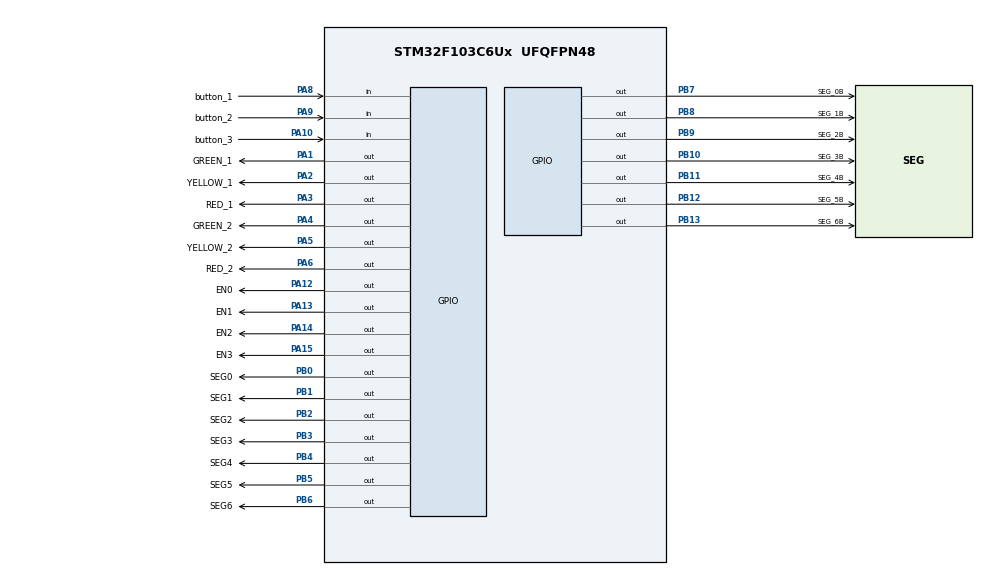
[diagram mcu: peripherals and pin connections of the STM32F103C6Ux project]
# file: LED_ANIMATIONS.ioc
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Mcu.Family=STM32F1
Mcu.Name=STM32F103C6Ux
Mcu.Package=UFQFPN48
NVIC.PriorityGroup=NVIC_PRIORITYGROUP_4
NVIC.TIM2_IRQn=true\:0\:0\:false\:false\:true\:true\:true
NVIC.TIM3_IRQn=true\:0\:0\:false\:false\:true\:true\:true
PA1.GPIO_Label=GREEN_1
PA1.Signal=GPIO_Output
PA10.GPIO_Label=button_3
PA10.GPIO_PuPd=GPIO_PULLUP
PA10.Signal=GPIO_Input
PA12.GPIO_Label=EN0
PA12.GPIO_PuPd=GPIO_PULLUP
PA12.Signal=GPIO_Output
PA13.GPIO_Label=EN1
PA13.GPIO_PuPd=GPIO_PULLUP
PA13.Signal=GPIO_Output
PA14.GPIO_Label=EN2
PA14.GPIO_PuPd=GPIO_PULLUP
PA14.Signal=GPIO_Output
PA15.GPIO_Label=EN3
PA15.GPIO_PuPd=GPIO_PULLUP
PA15.Signal=GPIO_Output
PA2.GPIO_Label=YELLOW_1
PA2.Signal=GPIO_Output
PA3.GPIO_Label=RED_1
PA3.Signal=GPIO_Output
PA4.GPIO_Label=GREEN_2
PA4.Signal=GPIO_Output
PA5.GPIO_Label=YELLOW_2
PA5.Signal=GPIO_Output
PA6.GPIO_Label=RED_2
PA6.Signal=GPIO_Output
PA8.GPIO_Label=button_1
PA8.GPIO_PuPd=GPIO_PULLUP
PA8.Signal=GPIO_Input
PA9.GPIO_Label=button_2
PA9.GPIO_PuPd=GPIO_PULLUP
PA9.Signal=GPIO_Input
PB0.GPIO_Label=SEG0
PB0.Signal=GPIO_Output
PB1.GPIO_Label=SEG1
PB1.Signal=GPIO_Output
PB10.GPIO_Label=SEG_3B
PB10.Signal=GPIO_Output
PB11.GPIO_Label=SEG_4B
PB11.Signal=GPIO_Output
PB12.GPIO_Label=SEG_5B
PB12.Signal=GPIO_Output
PB13.GPIO_Label=SEG_6B
PB13.Signal=GPIO_Output
PB2.GPIO_Label=SEG2
PB2.Signal=GPIO_Output
PB3.GPIO_Label=SEG3
PB3.Signal=GPIO_Output
PB4.GPIO_Label=SEG4
PB4.Signal=GPIO_Output
PB5.GPIO_Label=SEG5
PB5.Signal=GPIO_Output
PB6.GPIO_Label=SEG6
PB6.Signal=GPIO_Output
PB7.GPIO_Label=SEG_0B
PB7.Signal=GPIO_Output
PB8.GPIO_Label=SEG_1B
PB8.Signal=GPIO_Output
PB9.GPIO_Label=SEG_2B
PB9.Signal=GPIO_Output
ProjectManager.HeapSize=0x200
ProjectManager.StackSize=0x400
ProjectManager.TargetToolchain=STM32CubeIDE
RCC.APB1Freq_Value=8000000
RCC.APB2Freq_Value=8000000
TIM2.Period=99
TIM2.Prescaler=7999
TIM3.Period=99
TIM3.Prescaler=7999
VP_SYS_VS_ND.Mode=No_Debug
VP_TIM2_VS_ClockSourceINT.Mode=Internal
VP_TIM3_VS_ClockSourceINT.Mode=Internal
board=custom

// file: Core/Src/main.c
/* USER CODE BEGIN Header */
/**
  ******************************************************************************
  * @file           : main.c
  * @brief          : Main program body
  ******************************************************************************
  * @attention
  *
  * <h2><center>&copy; Copyright (c) 2024 STMicroelectronics.
  * All rights reserved.</center></h2>
  *
  * This software component is licensed by ST under BSD 3-Clause license,
  * the "License"; You may not use this file except in compliance with the
  * License. You may obtain a copy of the License at:
  *                        opensource.org/licenses/BSD-3-Clause
  *
  ******************************************************************************
  */
/* USER CODE END Header */
#include "main.h"

/* USER CODE BEGIN Includes */
#include "timer.h"
#include "led_display.h"
#include "fsm_automatic.h"
#include "input_processing.h"
#include "input_reading.h"
/* USER CODE END Includes */

TIM_HandleTypeDef htim2;
TIM_HandleTypeDef htim3;

void SystemClock_Config(void);
static void MX_GPIO_Init(void);
static void MX_TIM2_Init(void);
static void MX_TIM3_Init(void);

/* USER CODE BEGIN 0 */
int counter = 0;
int temp1,temp2;
int active_led = 0;
/* USER CODE END 0 */

int main(void)
{

  /* MCU Configuration--------------------------------------------------------*/

  /* Reset of all peripherals, Initializes the Flash interface and the Systick. */
  HAL_Init();

  /* Configure the system clock */
  SystemClock_Config();

  /* Initialize all configured peripherals */
  MX_GPIO_Init();
  MX_TIM2_Init();
  MX_TIM3_Init();
  /* USER CODE BEGIN 2 */
  HAL_TIM_Base_Start_IT(&htim2);
  HAL_TIM_Base_Start_IT(&htim3);
  /* USER CODE END 2 */

  /* Infinite loop */
  /* USER CODE BEGIN WHILE */
  status_1 = INIT;
  status_2 = INIT;
  setTimer1(100);
  while (1)
  {
    /* USER CODE END WHILE */

  }
}

void SystemClock_Config(void)
{
  RCC_OscInitTypeDef RCC_OscInitStruct = {0};
  RCC_ClkInitTypeDef RCC_ClkInitStruct = {0};

  /** Initializes the RCC Oscillators according to the specified parameters
  * in the RCC_OscInitTypeDef structure.
  */
  RCC_OscInitStruct.OscillatorType = RCC_OSCILLATORTYPE_HSI;
  RCC_OscInitStruct.HSIState = RCC_HSI_ON;
  RCC_OscInitStruct.HSICalibrationValue = RCC_HSICALIBRATION_DEFAULT;
  RCC_OscInitStruct.PLL.PLLState = RCC_PLL_NONE;
  if (HAL_RCC_OscConfig(&RCC_OscInitStruct) != HAL_OK)
  {
    Error_Handler();
  }
  /** Initializes the CPU, AHB and APB buses clocks
  */
  RCC_ClkInitStruct.ClockType = RCC_CLOCKTYPE_HCLK|RCC_CLOCKTYPE_SYSCLK
                              |RCC_CLOCKTYPE_PCLK1|RCC_CLOCKTYPE_PCLK2;
  RCC_ClkInitStruct.SYSCLKSource = RCC_SYSCLKSOURCE_HSI;
  RCC_ClkInitStruct.AHBCLKDivider = RCC_SYSCLK_DIV1;
  RCC_ClkInitStruct.APB1CLKDivider = RCC_HCLK_DIV1;
  RCC_ClkInitStruct.APB2CLKDivider = RCC_HCLK_DIV1;

  if (HAL_RCC_ClockConfig(&RCC_ClkInitStruct, FLASH_LATENCY_0) != HAL_OK)
  {
    Error_Handler();
  }
}

static void MX_TIM2_Init(void)
{

  TIM_ClockConfigTypeDef sClockSourceConfig = {0};
  TIM_MasterConfigTypeDef sMasterConfig = {0};

  htim2.Instance = TIM2;
  htim2.Init.Prescaler = 7999;
  htim2.Init.CounterMode = TIM_COUNTERMODE_UP;
  htim2.Init.Period = 99;
  htim2.Init.ClockDivision = TIM_CLOCKDIVISION_DIV1;
  htim2.Init.AutoReloadPreload = TIM_AUTORELOAD_PRELOAD_DISABLE;
  if (HAL_TIM_Base_Init(&htim2) != HAL_OK)
  {
    Error_Handler();
  }
  sClockSourceConfig.ClockSource = TIM_CLOCKSOURCE_INTERNAL;
  if (HAL_TIM_ConfigClockSource(&htim2, &sClockSourceConfig) != HAL_OK)
  {
    Error_Handler();
  }
  sMasterConfig.MasterOutputTrigger = TIM_TRGO_RESET;
  sMasterConfig.MasterSlaveMode = TIM_MASTERSLAVEMODE_DISABLE;
  if (HAL_TIMEx_MasterConfigSynchronization(&htim2, &sMasterConfig) != HAL_OK)
  {
    Error_Handler();
  }

}

static void MX_TIM3_Init(void)
{

  TIM_ClockConfigTypeDef sClockSourceConfig = {0};
  TIM_MasterConfigTypeDef sMasterConfig = {0};

  htim3.Instance = TIM3;
  htim3.Init.Prescaler = 7999;
  htim3.Init.CounterMode = TIM_COUNTERMODE_UP;
  htim3.Init.Period = 99;
  htim3.Init.ClockDivision = TIM_CLOCKDIVISION_DIV1;
  htim3.Init.AutoReloadPreload = TIM_AUTORELOAD_PRELOAD_DISABLE;
  if (HAL_TIM_Base_Init(&htim3) != HAL_OK)
  {
    Error_Handler();
  }
  sClockSourceConfig.ClockSource = TIM_CLOCKSOURCE_INTERNAL;
  if (HAL_TIM_ConfigClockSource(&htim3, &sClockSourceConfig) != HAL_OK)
  {
    Error_Handler();
  }
  sMasterConfig.MasterOutputTrigger = TIM_TRGO_RESET;
  sMasterConfig.MasterSlaveMode = TIM_MASTERSLAVEMODE_DISABLE;
  if (HAL_TIMEx_MasterConfigSynchronization(&htim3, &sMasterConfig) != HAL_OK)
  {
    Error_Handler();
  }

}

static void MX_GPIO_Init(void)
{
  GPIO_InitTypeDef GPIO_InitStruct = {0};

  /* GPIO Ports Clock Enable */
  __HAL_RCC_GPIOA_CLK_ENABLE();
  __HAL_RCC_GPIOB_CLK_ENABLE();

  /*Configure GPIO pin Output Level */
  HAL_GPIO_WritePin(GPIOA, GREEN_1_Pin|YELLOW_1_Pin|RED_1_Pin|GREEN_2_Pin
                          |YELLOW_2_Pin|RED_2_Pin|EN0_Pin|EN1_Pin
                          |EN2_Pin|EN3_Pin, GPIO_PIN_RESET);

  /*Configure GPIO pin Output Level */
  HAL_GPIO_WritePin(GPIOB, SEG0_Pin|SEG1_Pin|SEG2_Pin|SEG_3B_Pin
                          |SEG_4B_Pin|SEG_5B_Pin|SEG_6B_Pin|SEG3_Pin
                          |SEG4_Pin|SEG5_Pin|SEG6_Pin|SEG_0B_Pin
                          |SEG_1B_Pin|SEG_2B_Pin, GPIO_PIN_RESET);

  /*Configure GPIO pins : GREEN_1_Pin YELLOW_1_Pin RED_1_Pin GREEN_2_Pin
                           YELLOW_2_Pin RED_2_Pin */
  GPIO_InitStruct.Pin = GREEN_1_Pin|YELLOW_1_Pin|RED_1_Pin|GREEN_2_Pin
                          |YELLOW_2_Pin|RED_2_Pin;
  GPIO_InitStruct.Mode = GPIO_MODE_OUTPUT_PP;
  GPIO_InitStruct.Pull = GPIO_NOPULL;
  GPIO_InitStruct.Speed = GPIO_SPEED_FREQ_LOW;
  HAL_GPIO_Init(GPIOA, &GPIO_InitStruct);

  /*Configure GPIO pins : SEG0_Pin SEG1_Pin SEG2_Pin SEG_3B_Pin
                           SEG_4B_Pin SEG_5B_Pin SEG_6B_Pin SEG3_Pin
                           SEG4_Pin SEG5_Pin SEG6_Pin SEG_0B_Pin
                           SEG_1B_Pin SEG_2B_Pin */
  GPIO_InitStruct.Pin = SEG0_Pin|SEG1_Pin|SEG2_Pin|SEG_3B_Pin
                          |SEG_4B_Pin|SEG_5B_Pin|SEG_6B_Pin|SEG3_Pin
                          |SEG4_Pin|SEG5_Pin|SEG6_Pin|SEG_0B_Pin
                          |SEG_1B_Pin|SEG_2B_Pin;
  GPIO_InitStruct.Mode = GPIO_MODE_OUTPUT_PP;
  GPIO_InitStruct.Pull = GPIO_NOPULL;
  GPIO_InitStruct.Speed = GPIO_SPEED_FREQ_LOW;
  HAL_GPIO_Init(GPIOB, &GPIO_InitStruct);

  /*Configure GPIO pins : button_1_Pin button_2_Pin button_3_Pin */
  GPIO_InitStruct.Pin = button_1_Pin|button_2_Pin|button_3_Pin;
  GPIO_InitStruct.Mode = GPIO_MODE_INPUT;
  GPIO_InitStruct.Pull = GPIO_PULLUP;
  HAL_GPIO_Init(GPIOA, &GPIO_InitStruct);

  /*Configure GPIO pins : EN0_Pin EN1_Pin EN2_Pin EN3_Pin */
  GPIO_InitStruct.Pin = EN0_Pin|EN1_Pin|EN2_Pin|EN3_Pin;
  GPIO_InitStruct.Mode = GPIO_MODE_OUTPUT_PP;
  GPIO_InitStruct.Pull = GPIO_PULLUP;
  GPIO_InitStruct.Speed = GPIO_SPEED_FREQ_LOW;
  HAL_GPIO_Init(GPIOA, &GPIO_InitStruct);

}

/* USER CODE BEGIN 4 */
void HAL_TIM_PeriodElapsedCallback(TIM_HandleTypeDef *htim){
	timerRun();
	if(htim -> Instance == TIM3){
		if(active_led == 0){
			led_buffer_A[0] = timer1_counter/1000;
			led_buffer_A[1] = (timer1_counter/100) + 1;
			update7SEG(0);

			led_buffer_B[0] = timer2_counter/1000;
			led_buffer_B[1] = timer2_counter/100;
			update7SEG_B(0);

			active_led = 1;
		}
		else{
			led_buffer_A[0] = timer1_counter/1000;
			led_buffer_A[1] = (timer1_counter/100) + 1;
			update7SEG(1);

			led_buffer_B[0] = timer2_counter/1000;
			led_buffer_B[1] = (timer2_counter/100) + 1;
			update7SEG_B(1);

			active_led = 0;
		}
	}
	if(htim -> Instance == TIM2){
		button_reading();
	}
}
/* USER CODE END 4 */

void Error_Handler(void)
{
  __disable_irq();
  while (1)
  {
  }
}

/************************ (C) COPYRIGHT STMicroelectronics *****END OF FILE****/
